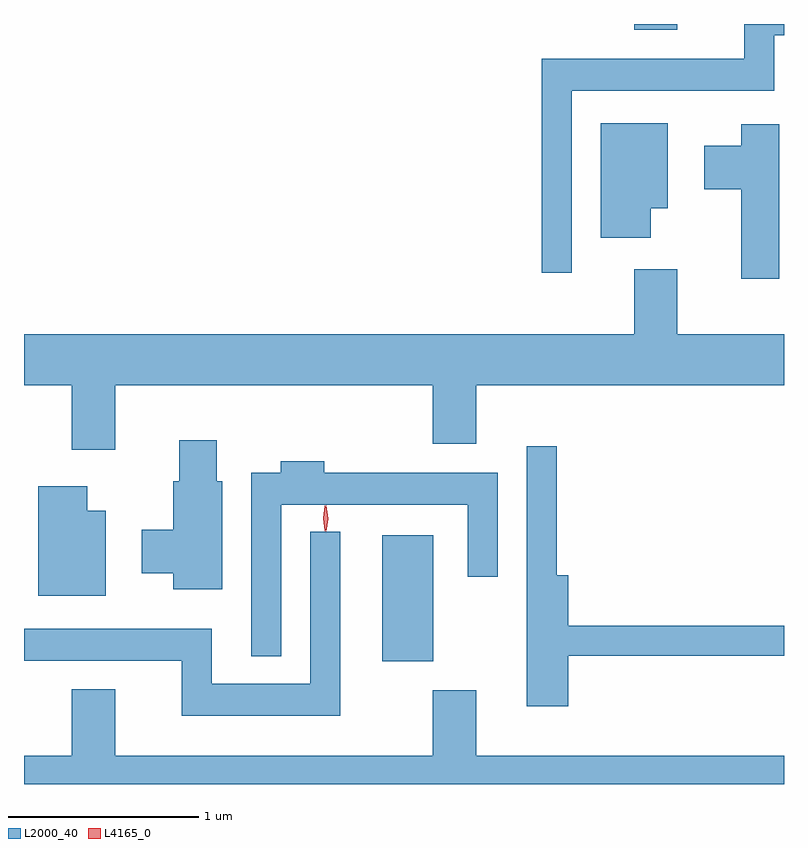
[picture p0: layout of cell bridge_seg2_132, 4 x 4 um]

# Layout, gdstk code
import gdstk
lib = gdstk.Library(unit=1e-6, precision=1e-09)
def R(c, l, rs):  # rectangles x0, y0, x1, y1
    for r in rs: c.add(gdstk.rectangle(r[:2], r[2:], *l))
def P(c, l, *ps):  # polygons
    for p in ps: c.add(gdstk.Polygon(p, *l))
L2000_40 = (2000, 40)
L4165_0 = (4165, 0)

bridge_seg2_132 = lib.new_cell('bridge_seg2_132')
R(bridge_seg2_132, L2000_40, [(1023.336,1102.361,1023.604,1103.024), (1024.661,1105.686,1024.889,1105.716)])
P(bridge_seg2_132, L2000_40, [(1024.334,1105.366),(1025.399,1105.366),(1025.399,1105.656),(1025.45,1105.656),(1025.45,1105.716),(1025.241,1105.716),(1025.241,1105.534),(1024.176,1105.534),(1024.176,1104.408),(1024.334,1104.408)],
  [(1024.749,1104.746),(1024.839,1104.746),(1024.839,1105.194),(1024.486,1105.194),(1024.486,1104.591),(1024.749,1104.591)],
  [(1025.424,1105.189),(1025.226,1105.189),(1025.226,1105.074),(1025.031,1105.074),(1025.031,1104.846),(1025.226,1104.846),(1025.226,1104.376),(1025.424,1104.376)],
  [(1021.929,1103.816),(1023.601,1103.816),(1023.601,1103.506),(1023.829,1103.506),(1023.829,1103.816),(1025.45,1103.816),(1025.45,1104.084),(1024.889,1104.084),(1024.889,1104.424),(1024.661,1104.424),(1024.661,1104.084),(1021.45,1104.084),(1021.45,1103.816),(1021.701,1103.816),(1021.701,1103.476),(1021.929,1103.476)],
  [(1022.494,1103.309),(1022.464,1103.309),(1022.464,1103.524),(1022.266,1103.524),(1022.266,1103.309),(1022.236,1103.309),(1022.236,1103.054),(1022.071,1103.054),(1022.071,1102.826),(1022.236,1102.826),(1022.236,1102.741),(1022.494,1102.741)],
  [(1024.314,1102.391),(1025.45,1102.391),(1025.45,1102.549),(1024.314,1102.549),(1024.314,1102.814),(1024.254,1102.814),(1024.254,1103.493),(1024.096,1103.493),(1024.096,1102.126),(1024.314,1102.126)],
  [(1022.804,1103.186),(1023.786,1103.186),(1023.786,1102.808),(1023.944,1102.808),(1023.944,1103.354),(1023.029,1103.354),(1023.029,1103.414),(1022.801,1103.414),(1022.801,1103.354),(1022.646,1103.354),(1022.646,1102.388),(1022.804,1102.388)],
  [(1021.879,1103.154),(1021.784,1103.154),(1021.784,1103.284),(1021.526,1103.284),(1021.526,1102.706),(1021.879,1102.706)],
  [(1023.114,1103.043),(1022.956,1103.043),(1022.956,1102.244),(1022.439,1102.244),(1022.439,1102.534),(1021.45,1102.534),(1021.45,1102.366),(1022.281,1102.366),(1022.281,1102.076),(1023.114,1102.076)],
  [(1025.45,1101.864),(1023.829,1101.864),(1023.829,1102.209),(1023.601,1102.209),(1023.601,1101.864),(1021.929,1101.864),(1021.929,1102.214),(1021.701,1102.214),(1021.701,1101.864),(1021.45,1101.864),(1021.45,1101.716),(1025.45,1101.716)])
P(bridge_seg2_132, L4165_0, [(1023.041,1103.043),(1023.04,1103.044),(1023.031,1103.113),(1023.041,1103.182),(1023.041,1103.183),(1023.042,1103.182),(1023.051,1103.113),(1023.041,1103.044)],
  [(1023.035,1103.047),(1023.034,1103.048),(1023.024,1103.114),(1023.034,1103.18),(1023.034,1103.18),(1023.035,1103.18),(1023.044,1103.114),(1023.035,1103.048)])

lib.write_gds('bridge_seg2_132.gds')
